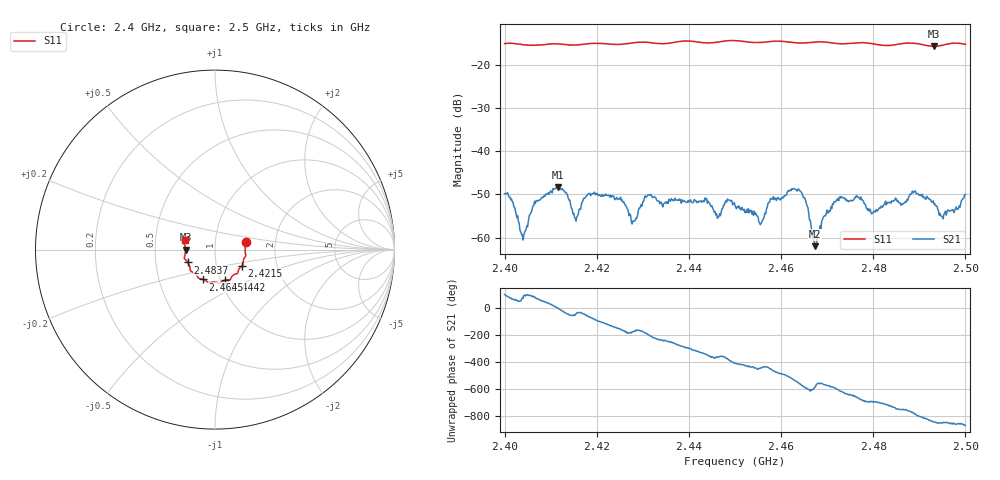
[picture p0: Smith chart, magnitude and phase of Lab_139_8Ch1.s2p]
# Hz S RI R 50
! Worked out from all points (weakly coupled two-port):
!   601 points, 2.4 GHz to 2.5 GHz, reference 50 ohm
!   highest |S21| = -48.33 dB at 2.4115 GHz (marker M1); lowest = -62.0 dB at 2.4673 GHz (marker M2)
!   lowest |S11| = -15.7 dB at 2.4932 GHz (marker M3), VSWR 1.39, Z = 35.9 - j0.0443 ohm
!   |S11| at or under -10 dB: start of sweep to end of sweep
!   S12 and S22 are empty: the file has one direction only
!   S11 on the Smith chart (normalised r, x): 2.4 GHz: 1.41, +0.12; 2.4215 GHz: 1.33, -0.25; 2.4442 GHz: 1.05, -0.37; 2.4645 GHz: 0.83, -0.29; 2.4837 GHz: 0.73, -0.11; 2.5 GHz: 0.71, +0.07
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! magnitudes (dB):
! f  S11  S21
! 2.4 GHz  -15.1  -49.8
! 2.404 GHz  -15.4  -60.5
! 2.4067 GHz  -15.5  -52.1
! 2.4115 GHz  -15.2  -48.3
! 2.4153 GHz  -15.5  -55.6
! 2.4167 GHz  -15.3  -52.3
! 2.4215 GHz  -15.1  -50.2
! 2.428 GHz  -14.9  -56.2
! 2.4333 GHz  -15.1  -51.5
! 2.4442 GHz  -15.0  -51.6
! 2.45 GHz  -14.4  -52.6
! 2.4557 GHz  -14.8  -56.7
! 2.4578 GHz  -14.6  -50.9
! 2.4645 GHz  -15.0  -49.7
! 2.4667 GHz  -14.8  -58.6
! 2.4673 GHz  -14.8  -62.0
! 2.4725 GHz  -15.1  -51.5
! 2.4833 GHz  -15.6  -51.9
! 2.4837 GHz  -15.5  -51.9
! 2.4932 GHz  -15.7  -52.2
! 2.4948 GHz  -15.5  -55.0
! 2.5 GHz  -15.3  -50.0
